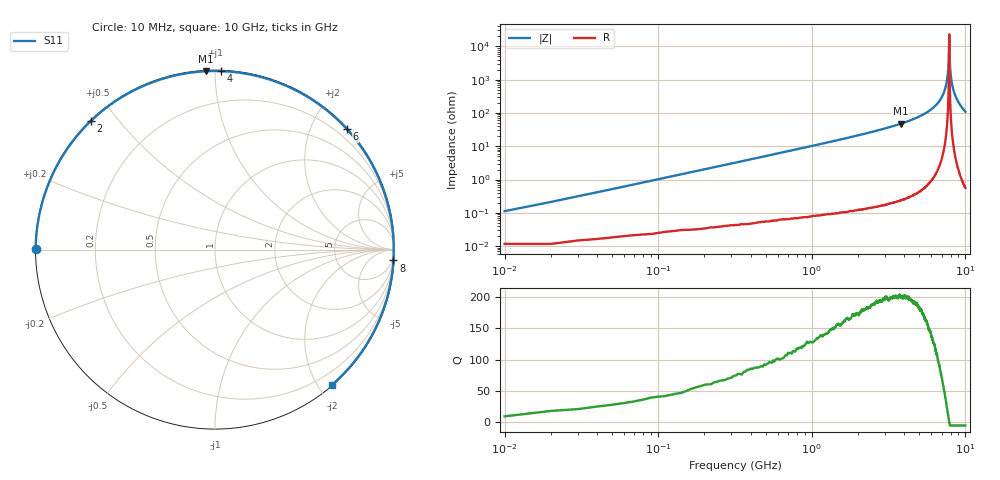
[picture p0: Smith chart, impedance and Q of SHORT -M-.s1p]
!Keysight Technologies,N5242A,MY53222596,A.10.47.06
!Date: Thursday, November 09, 2017 12:00:17
!Correction: S11(Full 2 Port(1,3))
!S1P File: Measurement: S11:
# Hz S  MA  R 50
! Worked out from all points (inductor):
!   1000 points, 10 MHz to 10 GHz, reference 50 ohm
!   read as one part to ground: L = 1.63 nH near 60 MHz
!   highest Q = 202 at 3.79 GHz (marker M1), where L = 2 nH
!   self-resonance near 7.84 GHz
!   S11 on the Smith chart (normalised r, x): 10 MHz: 0.00, +0.00; 2 GHz: 0.00, +0.42; 4 GHz: 0.01, +1.03; 6 GHz: 0.02, +2.58; 8 GHz: 2, -33; 10 GHz: 0.01, -2.18
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1e7  0.9995 179.7
3.3e8  0.9983 172.3
6.3e8  0.9975 165.4
9.4e8  0.9971 158.3
1.26e9  0.9966 150.9
1.63e9  0.9963 142.5
2e9  0.9958 134.0
2.51e9  0.9955 122.3
2.82e9  0.9953 115.1
3.14e9  0.9952 107.8
3.45e9  0.9951 100.7
3.76e9  0.9951 93.6
3.79e9  0.9951 92.9
4e9  0.9951 88.1
4.5e9  0.995 76.6
5.01e9  0.9951 65.0
5.5e9  0.995 53.8
6e9  0.9951 42.3
6.26e9  0.9952 36.4
6.9e9  0.9953 21.7
7.2e9  0.9955 14.8
7.51e9  0.9955 7.7
8e9  0.9957 -3.5
8.38e9  0.9958 -12.2
8.76e9  0.9959 -20.9
9.33e9  0.996 -33.9
9.75e9  0.9961 -43.5
1e10  0.9961 -49.2
